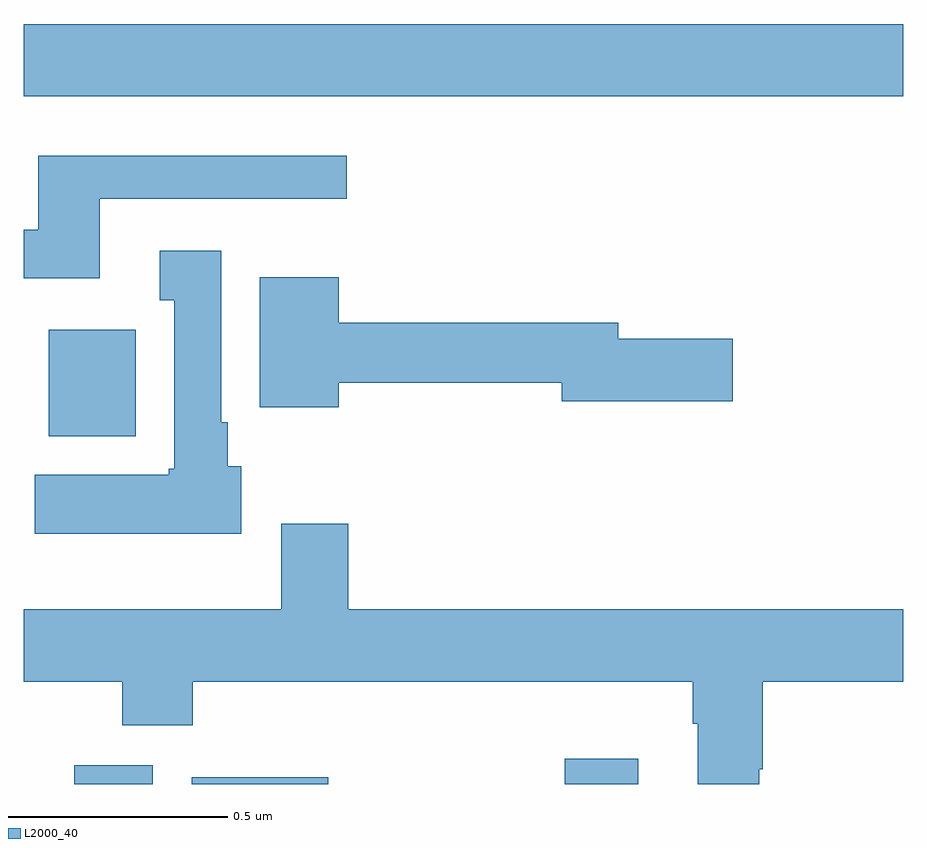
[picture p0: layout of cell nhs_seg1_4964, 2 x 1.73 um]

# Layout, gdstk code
import gdstk
lib = gdstk.Library(unit=1e-6, precision=1e-09)
def R(c, l, rs):  # rectangles x0, y0, x1, y1
    for r in rs: c.add(gdstk.rectangle(r[:2], r[2:], *l))
def P(c, l, *ps):  # polygons
    for p in ps: c.add(gdstk.Polygon(p, *l))
L2000_40 = (2000, 40)

nhs_seg1_4964 = lib.new_cell('nhs_seg1_4964')
R(nhs_seg1_4964, L2000_40, [(173.114,518.199,173.293,518.242), (173.382,518.199,173.692,518.214), (174.23,518.199,174.397,518.257), (173.057,518.99,173.254,519.232), (173,519.764,175,519.928)])
P(nhs_seg1_4964, L2000_40, [(173.173,519.531),(173.734,519.531),(173.734,519.628),(173.033,519.628),(173.033,519.46),(173,519.46),(173,519.35),(173.173,519.35)],
  [(173.494,518.922),(173.464,518.922),(173.464,519.022),(173.449,519.022),(173.449,519.412),(173.309,519.412),(173.309,519.299),(173.342,519.299),(173.342,518.916),(173.329,518.916),(173.329,518.902),(173.025,518.902),(173.025,518.768),(173.494,518.768)],
  [(173.716,519.112),(174.224,519.112),(174.224,519.07),(174.613,519.07),(174.613,519.212),(174.352,519.212),(174.352,519.248),(173.716,519.248),(173.716,519.352),(173.537,519.352),(173.537,519.056),(173.716,519.056)],
  [(173.585,518.791),(173.585,518.596),(173,518.596),(173,518.432),(173.224,518.432),(173.224,518.333),(173.384,518.333),(173.384,518.432),(174.521,518.432),(174.521,518.336),(174.533,518.336),(174.533,518.199),(174.673,518.199),(174.673,518.233),(174.681,518.233),(174.681,518.432),(175,518.432),(175,518.596),(173.738,518.596),(173.738,518.791)])

lib.write_gds('nhs_seg1_4964.gds')
